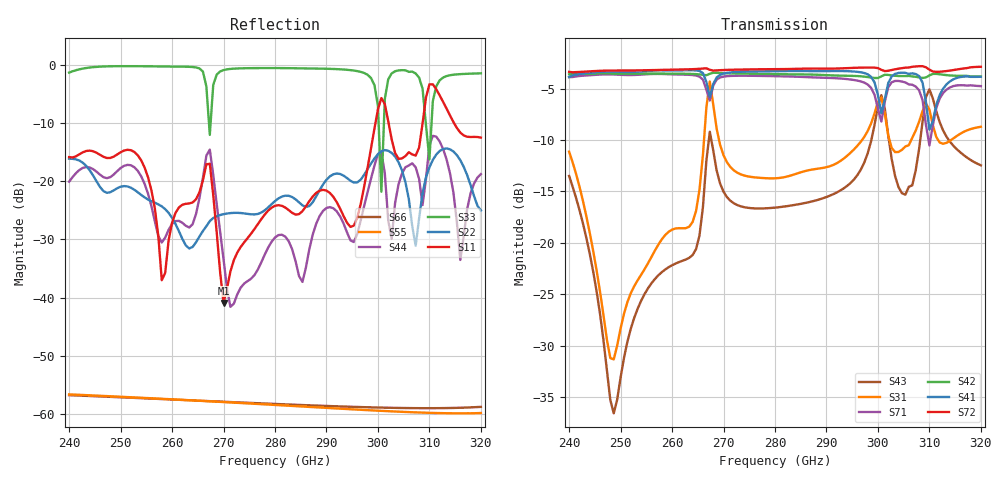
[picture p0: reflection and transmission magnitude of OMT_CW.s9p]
! Touchstone file exported from HFSS 2021.1.0
!  File:  D:/ANSYS/HFSS_work/cp_ant/260204_Cir_to_Rect_STEP_v3_fin.aedt
!  Generated:  4:30:06 %xC624%xD6C4  4 22, 2026
!  Design:  cir_to_rect_OMT_v13_GA7_opt_STEP_exp_QN2
!  Project:  260204_Cir_to_Rect_STEP_v3_fin
!  Setup:  Setup1
!  Solution:  Sweep
! Variables:
!  diff_ws = 0.0610877997211628mm
!  fil_r = 100um
!  h1 = 0.291824400557674mm
!  h2 = 0.134mm
!  h3 = 0.176mm
!  l1 = 0.527mm
!  l2 = 0.275mm
!  l3 = 0.459mm
!  l4 = 0.313mm
!  l5 = 0.285999999999997mm
!  mov_x = 1mm
!  r_r = 6mm
!  sep_h1 = 0.775824400557674mm
!  sep_h2 = 0.484mm
!  sep_h3 = 0.35mm
!  sep_h4 = 0.174mm
!  sep_l = 1.373mm
!  sep_l1 = 1.9mm
!  sep_l2 = 2.175mm
!  sep_l3 = 2.634mm
!  sep_l4 = 2.947mm
!  sep_ll = 0.2004mm
!  sep_ll2 = 0.2505mm
!  sep_ll3 = 1mm
!  sep_w = 0.137mm
!  tr_l = 1.002mm
!  wc_d = 0.9906mm
!  wc_l = 3.8259mm
!  wg_x = 20mm
!  wr_l = 3.7156mm
!  ws_x = 0.8636mm
!  ws_x1 = 0.898mm
!  ws_x2 = 0.775824400557674mm
!  ws_x3 = 0.898mm
!  ws_y2 = 0.898mm
!  ws_z = 0
!  wsc_l = 2mm
!Data is not renormalized
! Terminal data exported
! Port[1] = cir:1
! Port[2] = cir:2
! Port[3] = cir:3
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# GHz S MA
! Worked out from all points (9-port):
!   121 points, 240 GHz to 320 GHz, reference per port
!   strongest paths, dB at 240 GHz, 260 GHz, 280 GHz, 300 GHz, 320 GHz:
!     S72: -3.4, -3.2, -3.1, -3.0, -2.9
!     S41: -3.9, -3.2, -3.3, -5.6, -3.8
!     S42: -3.6, -3.5, -3.6, -4.0, -3.8
!     S71: -3.9, -3.6, -3.8, -6.9, -4.8
!     S31: -11.1, -18.7, -13.7, -6.3, -8.7
!     S43: -13.5, -22.2, -16.6, -6.7, -12.5
!   lowest |S11| = -40.9 dB at 270 GHz (marker M1), VSWR 1.02
!   |S11| at or under -10 dB: start of sweep to 299.5 GHz; 302.1 GHz to 308.7 GHz (6.612 GHz wide, 2.17 % of centre); 314.8 GHz to end of sweep
